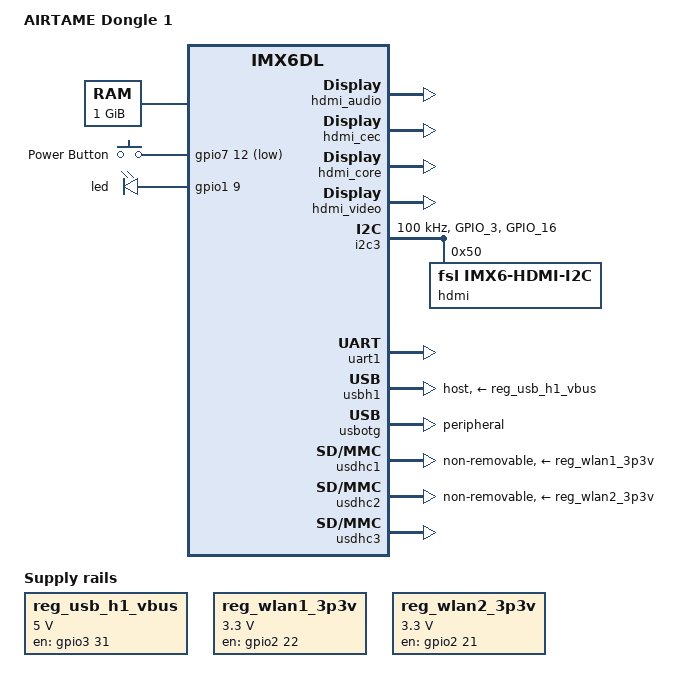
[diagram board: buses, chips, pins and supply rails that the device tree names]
/*
 * Copyright 2014 Emil Renner Berthing, AIRTAME
 *
 * The code contained herein is licensed under the GNU General Public
 * License. You may obtain a copy of the GNU General Public License
 * Version 2 or later at the following locations:
 *
 * http://www.opensource.org/licenses/gpl-license.html
 * http://www.gnu.org/copyleft/gpl.html
 */
/dts-v1/;

#include <dt-bindings/interrupt-controller/irq.h>
#include "imx6dl.dtsi"

/ {
	model = "AIRTAME Dongle 1";
	compatible = "airtame,imx6dl-airtame1", "fsl,imx6dl";

	aliases {
		mxcfb0 = &mxcfb1;
	};

	chosen {
		linux,stdout-path = &uart1;
	};

	memory {
		reg = <0x10000000 0x40000000>;
	};

	gpio-keys {
		compatible = "gpio-keys";
		power {
			label = "Power Button";
			gpios = <&gpio7 12 1>;
			linux,code = <116>; /* KEY_POWER */
			gpio-key,wakeup;
		};
	};

	leds {
		compatible = "gpio-leds";

		led {
			gpios = <&gpio1 9 0>;
			linux,default-trigger = "heartbeat";
			default-state = "on";
		};
	};

	regulators {
		compatible = "simple-bus";
		#address-cells = <1>;
		#size-cells = <0>;

		reg_usb_h1_vbus: usb_h1_vbus {
			compatible = "regulator-fixed";
			regulator-name = "usb_h1_vbus";
			regulator-min-microvolt = <5000000>;
			regulator-max-microvolt = <5000000>;
			gpio = <&gpio3 31 0>;
			enable-active-high;
		};

		reg_wlan1_3p3v: wlan1_3p3v {
			compatible = "regulator-fixed";
			regulator-name = "wlan1_3p3v";
			regulator-min-microvolt = <3300000>;
			regulator-max-microvolt = <3300000>;
			gpio = <&gpio2 22 0>;
			enable-active-high;
		};

		reg_wlan2_3p3v: wlan2_3p3v {
			compatible = "regulator-fixed";
			regulator-name = "wlan2_3p3v";
			regulator-min-microvolt = <3300000>;
			regulator-max-microvolt = <3300000>;
			gpio = <&gpio2 21 0>;
			enable-active-high;
		};
	};

	mxcfb1: fb@0 {
		compatible = "fsl,mxc_sdc_fb";
		disp_dev = "hdmi";
		interface_pix_fmt = "RGB24";
		mode_str ="1920x1080M@60";
		default_bpp = <24>;
		int_clk = <0>;
		late_init = <0>;
		status = "okay";
	};

	sound-hdmi {
		compatible = "fsl,imx6q-audio-hdmi",
			     "fsl,imx-audio-hdmi";
		model = "imx-audio-hdmi";
		hdmi-controller = <&hdmi_audio>;
	};

	v4l2_cap_0 {
		compatible = "fsl,imx6q-v4l2-capture";
		ipu_id = <0>;
		csi_id = <0>;
		mclk_source = <0>;
		status = "okay";
	};

	v4l2_out {
		compatible = "fsl,mxc_v4l2_output";
		status = "okay";
	};
};

&hdmi_audio {
	status = "okay";
};

&hdmi_cec {
	pinctrl-names = "default";
	pinctrl-0 = <&pinctrl_hdmi_cec_2>;
	status = "okay";
};

&hdmi_core {
	ipu_id = <0>;
	disp_id = <0>;
	status = "okay";
};

&hdmi_video {
	pinctrl-names = "default";
	pinctrl-0 = <&pinctrl_hdmi_hdcp_1>;
	fsl,hdcp;
	fsl,phy_reg_vlev = <0x0294>;
	fsl,phy_reg_cksymtx = <0x800d>;
	status = "okay";
};

&i2c3 {
        clock-frequency = <100000>;
        pinctrl-names = "default";
        pinctrl-0 = <&pinctrl_i2c3_airtame1>;
        status = "okay";

	hdmi: edid@50 {
		compatible = "fsl,imx6-hdmi-i2c";
		reg = <0x50>;
	};
};

&iomuxc {
	pinctrl-names = "default";
	pinctrl-0 = <&pinctrl_hog_1>;

	imx6dl-airtame1 {
		pinctrl_hog_1: hoggrp-1 {
			fsl,pins = <
				MX6QDL_PAD_GPIO_0__CCM_CLKO1    0x130b0
				MX6QDL_PAD_NANDF_CS2__CCM_CLKO2 0x130b0
				/* USB host power enable */
				MX6QDL_PAD_EIM_D31__GPIO3_IO31  0x100b1
				/* USB host over-current detect */
				MX6QDL_PAD_EIM_D30__GPIO3_IO30  0x10081
				/* AR6003 5GHz power enable */
				MX6QDL_PAD_EIM_A16__GPIO2_IO22  0x100b1
				/* AR6003 2.4GHz power enable */
				MX6QDL_PAD_EIM_A17__GPIO2_IO21  0x100b1
				/* Power Button */
				MX6QDL_PAD_GPIO_17__GPIO7_IO12  0x1b081
				/* LED */
				MX6QDL_PAD_GPIO_9__GPIO1_IO09   0x100b1
			>;
		};

		pinctrl_i2c3_airtame1: i2c3grp-airtame1 {
			fsl,pins = <
				MX6QDL_PAD_GPIO_3__I2C3_SCL  0x4001b8b1
				MX6QDL_PAD_GPIO_16__I2C3_SDA 0x4001b8b1
			>;
		};
	};
};

&uart1 {
	pinctrl-names = "default";
	pinctrl-0 = <&pinctrl_uart1_1>;
	status = "okay";
};

&usbh1 {
	phy_type = "utmi";
	dr_mode = "host";
	vbus-supply = <&reg_usb_h1_vbus>;
	disable-over-current;
	status = "okay";
};

&usbotg {
#if 0
	vbus-supply = <&reg_usb_otg_vbus>;
	pinctrl-names = "default";
	pinctrl-0 = <&pinctrl_usbotg_1>;
	disable-over-current;
#endif
	imx6-usb-charger-detection;
	dr_mode = "peripheral";
	status = "okay";
};

&usdhc1 {  /* AR6003 5GHz */
	pinctrl-names = "default";
	pinctrl-0 = <&pinctrl_usdhc1_1>;
	non-removable;
	vmmc-supply = <&reg_wlan1_3p3v>;
	status = "okay";
};

&usdhc2 {  /* AR6003 2.4GHz */
	pinctrl-names = "default";
	pinctrl-0 = <&pinctrl_usdhc2_2>;
	non-removable;
	vmmc-supply = <&reg_wlan2_3p3v>;
	status = "okay";
};

&usdhc3 { /* microSD slot */
	pinctrl-names = "default";
	pinctrl-0 = <&pinctrl_usdhc3_2>;
	no-1-8-v;
	status = "okay";
};
